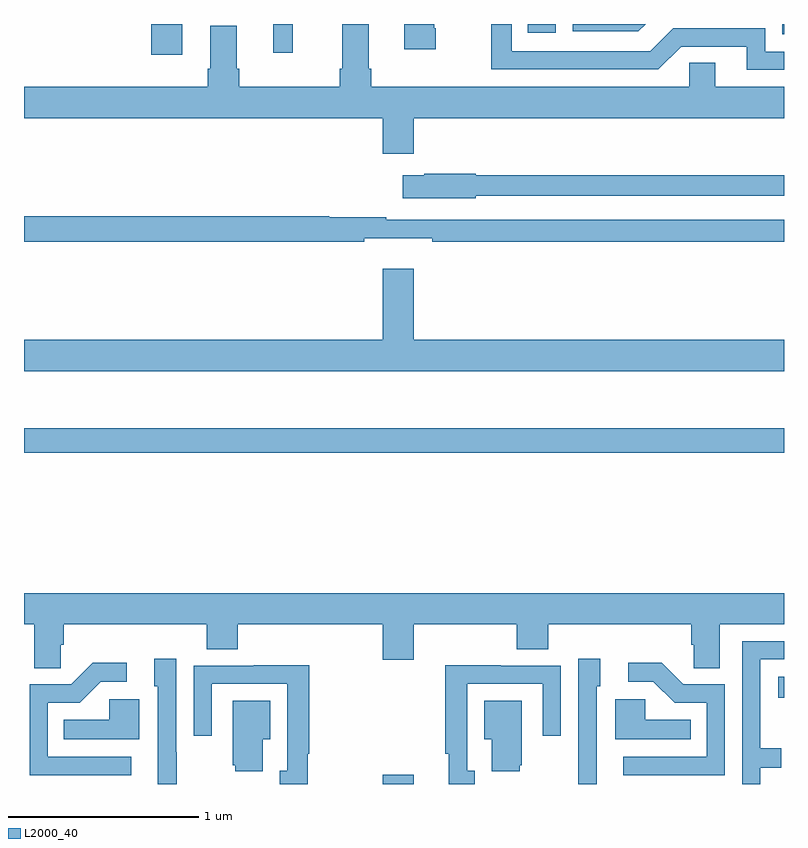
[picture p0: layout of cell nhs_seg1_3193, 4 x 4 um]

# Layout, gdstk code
import gdstk
lib = gdstk.Library(unit=1e-6, precision=1e-09)
def R(c, l, rs):  # rectangles x0, y0, x1, y1
    for r in rs: c.add(gdstk.rectangle(r[:2], r[2:], *l))
def P(c, l, *ps):  # polygons
    for p in ps: c.add(gdstk.Polygon(p, *l))
L2000_40 = (2000, 40)

nhs_seg1_3193 = lib.new_cell('nhs_seg1_3193')
R(nhs_seg1_3193, L2000_40, [(284.888,576.199,285.052,576.247), (286.971,576.653,287,576.763), (283,577.942,287,578.071), (283.67,580.038,283.834,580.199), (284.312,580.047,284.414,580.199), (286.99,580.145,287,580.199), (285.652,580.152,285.798,580.199)])
P(nhs_seg1_3193, L2000_40, [(287,580.053),(286.902,580.053),(286.902,580.176),(286.416,580.176),(286.296,580.056),(285.567,580.056),(285.567,580.199),(285.459,580.199),(285.459,579.96),(286.338,579.96),(286.458,580.08),(286.805,580.08),(286.805,579.957),(287,579.957)],
  [(285.168,580.177),(285.16,580.177),(285.16,580.199),(285.002,580.199),(285.002,580.065),(285.168,580.065)],
  [(286.272,580.199),(285.888,580.199),(285.888,580.161),(286.234,580.161)],
  [(285.052,579.704),(287,579.704),(287,579.868),(286.639,579.868),(286.639,579.995),(286.5,579.995),(286.5,579.868),(284.828,579.868),(284.828,579.964),(284.815,579.964),(284.815,580.199),(284.675,580.199),(284.675,579.964),(284.663,579.964),(284.663,579.868),(284.132,579.868),(284.132,579.964),(284.119,579.964),(284.119,580.189),(283.979,580.189),(283.979,579.964),(283.967,579.964),(283.967,579.868),(283,579.868),(283,579.704),(284.888,579.704),(284.888,579.516),(285.052,579.516)],
  [(285.378,579.294),(287,579.294),(287,579.403),(285.378,579.403),(285.378,579.411),(285.106,579.411),(285.106,579.403),(284.994,579.403),(284.994,579.281),(285.378,579.281)],
  [(284.792,579.071),(285.148,579.071),(285.148,579.052),(287,579.052),(287,579.168),(284.906,579.168),(284.906,579.181),(284.606,579.181),(284.606,579.188),(283,579.188),(283,579.052),(284.792,579.052)],
  [(287,578.536),(285.052,578.536),(285.052,578.911),(284.888,578.911),(284.888,578.536),(283,578.536),(283,578.372),(287,578.372)],
  [(283,577.04),(283.055,577.04),(283.055,576.808),(283.194,576.808),(283.194,576.931),(283.208,576.931),(283.208,577.04),(283.961,577.04),(283.961,576.907),(284.126,576.907),(284.126,577.04),(284.888,577.04),(284.888,576.852),(285.052,576.852),(285.052,577.04),(285.593,577.04),(285.593,576.907),(285.758,576.907),(285.758,577.04),(286.511,577.04),(286.511,576.931),(286.524,576.931),(286.524,576.808),(286.663,576.808),(286.663,577.04),(287,577.04),(287,577.204),(283,577.204)],
  [(286.875,576.285),(286.985,576.285),(286.985,576.386),(286.875,576.386),(286.875,576.855),(287,576.855),(287,576.951),(286.779,576.951),(286.779,576.199),(286.875,576.199)],
  [(283.803,576.365),(283.8,576.365),(283.8,576.859),(283.685,576.859),(283.685,576.714),(283.704,576.714),(283.704,576.41),(283.703,576.41),(283.703,576.199),(283.803,576.199)],
  [(286.015,576.41),(286.014,576.41),(286.014,576.714),(286.033,576.714),(286.033,576.859),(285.918,576.859),(285.918,576.365),(285.916,576.365),(285.916,576.199),(286.015,576.199)],
  [(286.689,576.723),(286.47,576.723),(286.357,576.836),(286.179,576.836),(286.179,576.738),(286.313,576.738),(286.424,576.627),(286.593,576.627),(286.593,576.342),(286.155,576.342),(286.155,576.246),(286.689,576.246)],
  [(283.564,576.342),(283.125,576.342),(283.125,576.627),(283.294,576.627),(283.405,576.738),(283.54,576.738),(283.54,576.836),(283.361,576.836),(283.248,576.723),(283.029,576.723),(283.029,576.246),(283.564,576.246)],
  [(284.494,576.358),(284.501,576.358),(284.501,576.824),(284.209,576.824),(284.209,576.822),(283.893,576.822),(283.893,576.453),(283.989,576.453),(283.989,576.726),(284.385,576.726),(284.385,576.27),(284.345,576.27),(284.345,576.199),(284.494,576.199)],
  [(285.373,576.27),(285.333,576.27),(285.333,576.726),(285.729,576.726),(285.729,576.453),(285.825,576.453),(285.825,576.822),(285.509,576.822),(285.509,576.824),(285.217,576.824),(285.217,576.358),(285.236,576.358),(285.236,576.199),(285.373,576.199)],
  [(286.508,576.538),(286.269,576.538),(286.269,576.646),(286.112,576.646),(286.112,576.434),(286.508,576.434)],
  [(283.606,576.646),(283.449,576.646),(283.449,576.538),(283.21,576.538),(283.21,576.434),(283.606,576.434)],
  [(284.257,576.434),(284.296,576.434),(284.296,576.637),(284.099,576.637),(284.099,576.297),(284.111,576.297),(284.111,576.266),(284.257,576.266)],
  [(285.608,576.297),(285.619,576.297),(285.619,576.637),(285.422,576.637),(285.422,576.434),(285.461,576.434),(285.461,576.266),(285.608,576.266)])

lib.write_gds('nhs_seg1_3193.gds')
